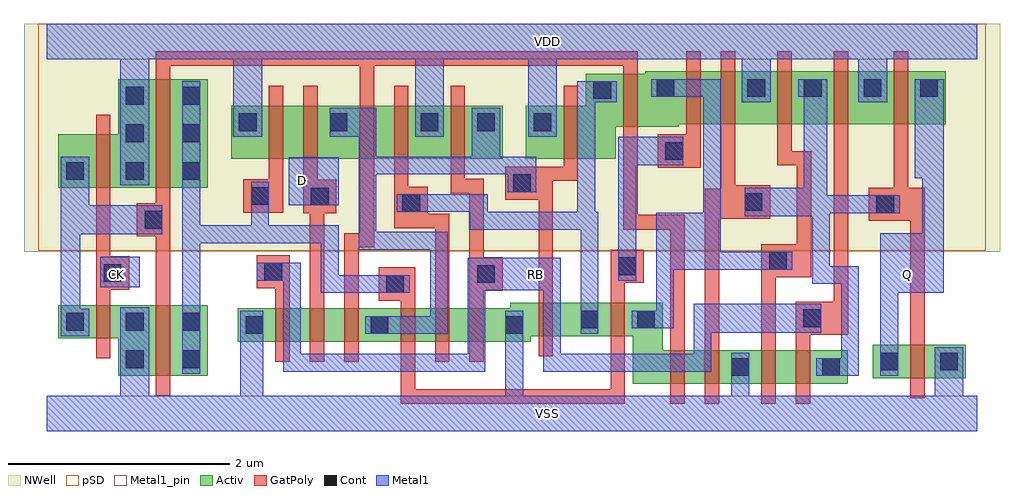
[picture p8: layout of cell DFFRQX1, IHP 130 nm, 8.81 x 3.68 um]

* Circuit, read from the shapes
.subckt DFFRQX1 CK D Q RB VDD VSS
XM1 VSS CK n1 VSUBS sg13_lv_nmos w=0.3u l=0.13u
XM2 n2 n1 VSS VSUBS sg13_lv_nmos w=0.64u l=0.13u
XM3 n3 RB VSS VSUBS sg13_lv_nmos w=0.3u l=0.13u
XM4 n4 D n3 VSUBS sg13_lv_nmos w=0.3u l=0.13u
XM5 n5 n1 n4 VSUBS sg13_lv_nmos w=0.3u l=0.13u
XM6 n6 n2 n5 VSUBS sg13_lv_nmos w=0.3u l=0.13u
XM7 n7 n8 n6 VSUBS sg13_lv_nmos w=0.3u l=0.13u
XM8 VSS RB n7 VSUBS sg13_lv_nmos w=0.3u l=0.13u
XM9 n8 n5 VSS VSUBS sg13_lv_nmos w=0.3u l=0.13u
XM10 n9 n2 n8 VSUBS sg13_lv_nmos w=0.3u l=0.13u
XM11 n10 n1 n9 VSUBS sg13_lv_nmos w=0.3u l=0.13u
XM12 VSS n11 n10 VSUBS sg13_lv_nmos w=0.3u l=0.13u
XM13 n12 n9 VSS VSUBS sg13_lv_nmos w=0.3u l=0.13u
XM14 n11 RB n12 VSUBS sg13_lv_nmos w=0.3u l=0.13u
XM15 VSS n11 Q VSUBS sg13_lv_nmos w=0.3u l=0.13u
XM16 VDD CK n1 n13 sg13_lv_pmos w=0.48u l=0.13u
XM17 n2 n1 VDD n13 sg13_lv_pmos w=0.98u l=0.13u
XM18 n14 n2 VDD n13 sg13_lv_pmos w=0.48u l=0.13u
XM19 n5 D n14 n13 sg13_lv_pmos w=0.48u l=0.13u
XM20 n15 n1 n5 n13 sg13_lv_pmos w=0.48u l=0.13u
XM21 VDD n8 n15 n13 sg13_lv_pmos w=0.48u l=0.13u
XM22 n5 RB VDD n13 sg13_lv_pmos w=0.48u l=0.13u
XM23 n8 n5 VDD n13 sg13_lv_pmos w=0.48u l=0.13u
XM24 n9 n1 n8 n13 sg13_lv_pmos w=0.48u l=0.13u
XM25 n16 n2 n9 n13 sg13_lv_pmos w=0.48u l=0.13u
XM26 VDD n11 n16 n13 sg13_lv_pmos w=0.48u l=0.13u
XM27 n11 n9 VDD n13 sg13_lv_pmos w=0.48u l=0.13u
XM28 VDD RB n11 n13 sg13_lv_pmos w=0.48u l=0.13u
XM29 Q n11 VDD n13 sg13_lv_pmos w=0.48u l=0.13u
.ends

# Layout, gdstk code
import gdstk
lib = gdstk.Library(unit=1e-6, precision=1e-09)
def R(c, l, rs):  # rectangles x0, y0, x1, y1
    for r in rs: c.add(gdstk.rectangle(r[:2], r[2:], *l))
def A(c, l, x, y, w, h, nx, ny, dx, dy):  # array of equal rectangles
    R(c, l, [(x+i*dx, y+j*dy, x+i*dx+w, y+j*dy+h) for i in range(nx) for j in range(ny)])
def P(c, l, *ps):  # polygons
    for p in ps: c.add(gdstk.Polygon(p, *l))
Activ = (1, 0)
GatPoly = (5, 0)
Cont = (6, 0)
Metal1 = (8, 0)
Metal1_pin = (8, 2)
pSD = (14, 0)
NWell = (31, 0)

dffrqx1 = lib.new_cell('DFFRQX1')
R(dffrqx1, Activ, [(7.455,0.32,8.295,0.62), (1.665,2.3,4.115,2.78)])
P(dffrqx1, Activ, [(8.115,3.09),(5.405,3.09),(5.405,3.07),(4.865,3.07),(4.865,2.78),(4.325,2.78),(4.325,2.3),(5.135,2.3),(5.135,2.59),(5.705,2.59),(5.705,2.61),(8.115,2.61)],
  [(7.23,0.57),(5.56,0.57),(5.56,1),(4.185,1),(4.185,0.95),(1.725,0.95),(1.725,0.65),(4.37,0.65),(4.37,0.7),(5.29,0.7),(5.29,0.27),(7.23,0.27)],
  [(1.455,0.98),(0.105,0.98),(0.105,0.68),(0.645,0.68),(0.645,0.34),(1.455,0.34)],
  [(1.455,3.02),(0.645,3.02),(0.645,2.52),(0.105,2.52),(0.105,2.04),(1.455,2.04)])
P(dffrqx1, GatPoly, [(4.115,1.41),(3.945,1.41),(3.945,2.12),(3.775,2.12),(3.775,2.96),(3.645,2.96),(3.645,1.99),(3.815,1.99),(3.815,0.47),(3.945,0.47),(3.945,1.11),(4.115,1.11)],
  [(2.195,1.43),(1.895,1.43),(1.895,1.13),(2.065,1.13),(2.065,0.47),(2.195,0.47)],
  [(7.235,3.27),(7.105,3.27),(7.105,1.01),(6.76,1.01),(6.76,0.09),(6.89,0.09),(6.89,0.71),(7.235,0.71)],
  [(2.615,2.11),(2.445,2.11),(2.445,2.96),(2.315,2.96),(2.315,1.81),(2.375,1.81),(2.375,0.47),(2.505,0.47),(2.505,1.81),(2.615,1.81)],
  [(0.745,1.42),(0.575,1.42),(0.575,2.7),(0.445,2.7),(0.445,0.5),(0.575,0.5),(0.575,1.12),(0.745,1.12)],
  [(7.925,2.04),(7.775,2.04),(7.775,3.27),(7.645,3.27),(7.645,2.04),(7.42,2.04),(7.42,1.74),(7.795,1.74),(7.795,0.14),(7.925,0.14)],
  [(6.9,2.37),(6.725,2.37),(6.725,3.27),(6.595,3.27),(6.595,2.24),(6.77,2.24),(6.77,1.53),(6.45,1.53),(6.45,0.09),(6.58,0.09),(6.58,1.23),(6.9,1.23)],
  [(6.53,2.06),(6.215,2.06),(6.215,3.27),(6.085,3.27),(6.085,2.03),(5.94,2.03),(5.94,0.09),(6.07,0.09),(6.07,1.76),(6.53,1.76)],
  [(5.905,3.27),(5.775,3.27),(5.775,2.52),(5.515,2.52),(5.515,2.22),(5.905,2.22)],
  [(5.76,1.795),(5.335,1.795),(5.335,3.27),(0.985,3.27),(0.985,1.9),(0.815,1.9),(0.815,1.6),(0.985,1.6),(0.985,0.16),(1.115,0.16),(1.115,3.14),(2.825,3.14),(2.825,1.63),(2.685,1.63),(2.685,0.47),(2.815,0.47),(2.815,1.5),(2.955,1.5),(2.955,3.14),(5.205,3.14),(5.205,1.66),(5.63,1.66),(5.63,0.09),(5.76,0.09)],
  [(5.39,1.48),(5.09,1.48),(5.09,0.22),(3.325,0.22),(3.325,1.32),(2.995,1.32),(2.995,1.02),(3.195,1.02),(3.195,0.09),(5.22,0.09),(5.22,1.18),(5.39,1.18)],
  [(4.795,2.96),(4.665,2.96),(4.665,2.23),(4.14,2.23),(4.14,1.93),(4.44,1.93),(4.44,0.52),(4.57,0.52),(4.57,2.1),(4.795,2.1)],
  [(3.635,1.805),(3.44,1.805),(3.44,2.05),(3.265,2.05),(3.265,2.96),(3.135,2.96),(3.135,1.675),(3.505,1.675),(3.505,0.47),(3.635,0.47)],
  [(2.135,2.96),(2.005,2.96),(2.005,2.115),(1.775,2.115),(1.775,1.815),(2.135,1.815)])
A(dffrqx1, Cont, 0.715, 2.11, 0.16, 0.16, 1, 3, 0, 0.34)
A(dffrqx1, Cont, 1.225, 2.11, 0.16, 0.16, 1, 3, 0, 0.34)
A(dffrqx1, Cont, 1.735, 2.55, 0.16, 0.16, 3, 1, 0.82, 0)
R(dffrqx1, Cont, [(6.18,0.34,6.34,0.5), (7,0.34,7.16,0.5), (7.525,0.39,7.685,0.55), (8.065,0.39,8.225,0.55), (0.715,0.41,0.875,0.57), (1.225,0.41,1.385,0.57), (1.795,0.72,1.955,0.88), (2.925,0.72,3.085,0.88), (4.14,0.72,4.3,0.88), (0.175,0.75,0.335,0.91), (0.715,0.75,0.875,0.91), (1.225,0.75,1.385,0.91), (4.82,0.77,4.98,0.93), (5.33,0.77,5.49,0.93), (6.83,0.78,6.99,0.94), (3.065,1.09,3.225,1.25), (3.885,1.18,4.045,1.34), (0.515,1.19,0.675,1.35), (1.965,1.2,2.125,1.36), (5.16,1.25,5.32,1.41), (6.52,1.3,6.68,1.46), (0.885,1.67,1.045,1.83), (7.49,1.81,7.65,1.97), (3.21,1.82,3.37,1.98), (6.3,1.83,6.46,1.99), (2.385,1.88,2.545,2.04), (1.845,1.885,2.005,2.045), (4.21,2,4.37,2.16), (0.175,2.11,0.335,2.27), (5.585,2.29,5.745,2.45), (3.885,2.55,4.045,2.71), (4.395,2.55,4.555,2.71), (4.935,2.84,5.095,3), (5.505,2.86,5.665,3.02), (6.325,2.86,6.485,3.02), (6.835,2.86,6.995,3.02), (7.375,2.86,7.535,3.02), (7.885,2.86,8.045,3.02)])
R(dffrqx1, Metal1, [(0.485,1.14,0.84,1.415), (2.185,1.88,2.635,2.315)])
P(dffrqx1, Metal1, [(8.095,3.02),(7.835,3.02),(7.835,2.125),(7.905,2.125),(7.905,1.63),(7.525,1.63),(7.525,0.34),(7.685,0.34),(7.685,1.09),(8.095,1.09)],
  [(6.99,0.99),(5.84,0.99),(5.84,0.54),(4.64,0.54),(4.64,1.405),(3.8,1.405),(3.8,0.54),(2.295,0.54),(2.295,1.36),(1.895,1.36),(1.895,1.2),(2.135,1.2),(2.135,0.38),(3.96,0.38),(3.96,1.115),(4.48,1.115),(4.48,0.38),(6,0.38),(6,0.73),(6.99,0.73)],
  [(8.4,0.16),(8.275,0.16),(8.275,0.6),(8.015,0.6),(8.015,0.16),(6.34,0.16),(6.34,0.55),(6.18,0.55),(6.18,0.16),(4.3,0.16),(4.3,0.93),(4.14,0.93),(4.14,0.16),(1.955,0.16),(1.955,0.93),(1.745,0.93),(1.745,0.16),(0.925,0.16),(0.925,0.96),(0.665,0.96),(0.665,0.16),(0,0.16),(0,-0.16),(8.4,-0.16)],
  [(8.4,3.52),(0,3.52),(0,3.2),(0.665,3.2),(0.665,2.06),(0.925,2.06),(0.925,3.2),(1.685,3.2),(1.685,2.5),(1.945,2.5),(1.945,3.2),(3.325,3.2),(3.325,2.5),(3.585,2.5),(3.585,3.2),(4.345,3.2),(4.345,2.5),(4.605,2.5),(4.605,3.2),(6.275,3.2),(6.275,2.81),(6.535,2.81),(6.535,3.2),(7.325,3.2),(7.325,2.81),(7.585,2.81),(7.585,3.2),(8.4,3.2)],
  [(7.7,1.97),(7.045,1.97),(7.045,3.02),(6.785,3.02),(6.785,2.86),(6.835,2.86),(6.835,2.04),(6.3,2.04),(6.3,1.78),(6.91,1.78),(6.91,1.17),(7.17,1.17),(7.17,0.5),(6.945,0.5),(6.945,0.34),(7.33,0.34),(7.33,1.33),(7.07,1.33),(7.07,1.81),(7.7,1.81)],
  [(6.73,1.46),(6.085,1.46),(6.085,3.02),(5.455,3.02),(5.455,2.86),(5.925,2.86),(5.925,1.815),(5.5,1.815),(5.5,0.93),(5.28,0.93),(5.28,0.77),(5.66,0.77),(5.66,1.3),(6.73,1.3)],
  [(5.745,2.5),(5.16,2.5),(5.16,1.2),(5.32,1.2),(5.32,2.24),(5.745,2.24)],
  [(5.145,3),(4.79,3),(4.79,1.82),(3.98,1.82),(3.98,1.98),(3.16,1.98),(3.16,1.82),(3.82,1.82),(3.82,1.66),(4.82,1.66),(4.82,0.72),(4.98,0.72),(4.98,1.82),(4.95,1.82),(4.95,2.81),(5.145,2.81)],
  [(4.42,2.32),(4.095,2.32),(4.095,2.76),(3.835,2.76),(3.835,2.32),(2.975,2.32),(2.975,2.76),(2.555,2.76),(2.555,2.5),(2.815,2.5),(2.815,1.48),(3.46,1.48),(3.46,0.88),(2.875,0.88),(2.875,0.72),(3.62,0.72),(3.62,1.64),(2.975,1.64),(2.975,2.16),(4.16,2.16),(4.16,2),(4.42,2)],
  [(3.275,1.25),(2.635,1.25),(2.635,1.7),(2.005,1.7),(2.005,2.095),(1.845,2.095),(1.845,1.7),(1.385,1.7),(1.385,3),(1.225,3),(1.225,0.36),(1.385,0.36),(1.385,1.54),(2.475,1.54),(2.475,1.09),(3.275,1.09)],
  [(1.045,1.88),(0.385,1.88),(0.385,2.32),(0.125,2.32),(0.125,0.7),(0.385,0.7),(0.385,0.945),(0.305,0.945),(0.305,1.62),(1.045,1.62)])
R(dffrqx1, Metal1_pin, [(0,-0.16,8.4,0.16), (7.525,1.09,8.095,1.63), (3.8,1.115,4.64,1.405), (0.485,1.14,0.84,1.415), (2.185,1.88,2.635,2.315), (0,3.2,8.4,3.52)])
P(dffrqx1, Metal1_pin, [(8.095,3.02),(7.835,3.02),(7.835,2.125),(7.905,2.125),(7.905,1.63),(7.525,1.63),(7.525,0.34),(7.685,0.34),(7.685,1.09),(8.095,1.09)],
  [(3.96,1.205),(3.8,1.205),(3.8,0.54),(2.295,0.54),(2.295,1.36),(1.895,1.36),(1.895,1.2),(2.135,1.2),(2.135,0.38),(3.96,0.38)],
  [(6.99,0.99),(5.84,0.99),(5.84,0.54),(4.64,0.54),(4.64,1.115),(4.48,1.115),(4.48,0.38),(6,0.38),(6,0.73),(6.99,0.73)])
R(dffrqx1, pSD, [(-0.075,1.47,8.475,3.52)])
R(dffrqx1, NWell, [(-0.205,1.46,8.605,3.52)])
dffrqx1.add(gdstk.Label('VSS', (4.52,0), layer=8, texttype=25))
dffrqx1.add(gdstk.Label('VDD', (4.52,3.36), layer=8, texttype=25))
dffrqx1.add(gdstk.Label('RB', (4.41,1.26), layer=8, texttype=25))
dffrqx1.add(gdstk.Label('CK', (0.63,1.26), layer=8, texttype=25))
dffrqx1.add(gdstk.Label('D', (2.31,2.1), layer=8, texttype=25))
dffrqx1.add(gdstk.Label('Q', (7.77,1.26), layer=8, texttype=25))

lib.write_gds('DFFRQX1.gds')
